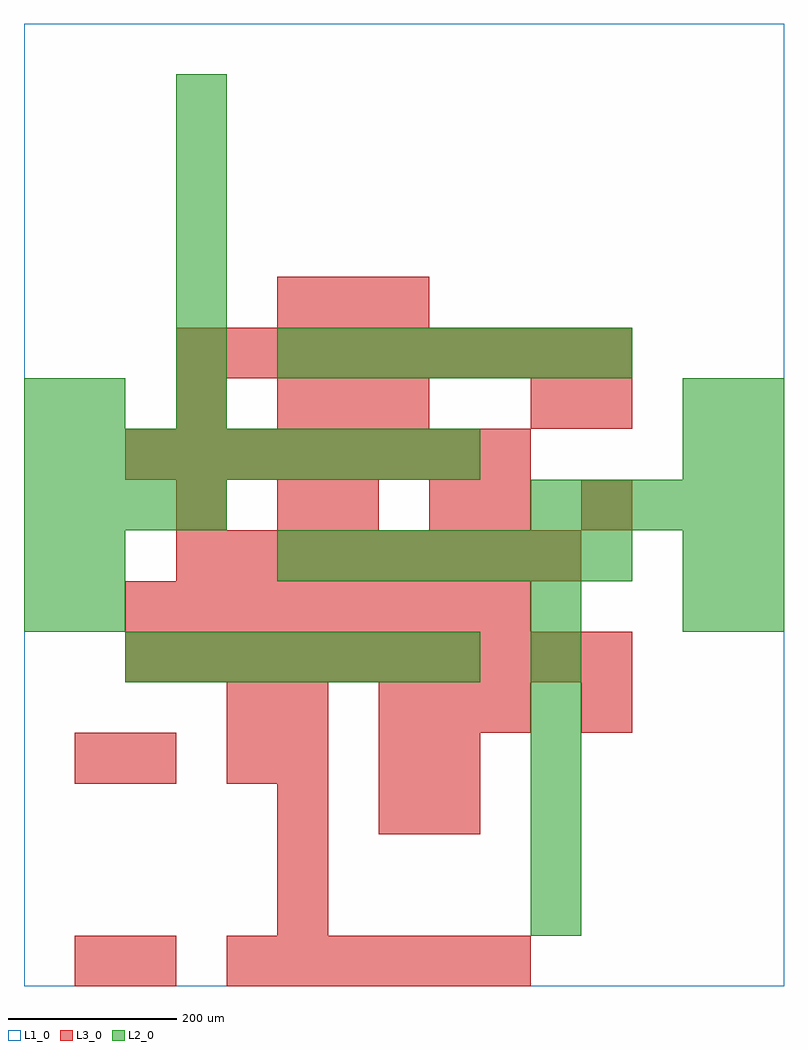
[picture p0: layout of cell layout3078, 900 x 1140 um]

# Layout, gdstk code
import gdstk
lib = gdstk.Library(unit=1e-6, precision=1e-09)
def R(c, l, rs):  # rectangles x0, y0, x1, y1
    for r in rs: c.add(gdstk.rectangle(r[:2], r[2:], *l))
def A(c, l, x, y, w, h, nx, ny, dx, dy):  # array of equal rectangles
    R(c, l, [(x+i*dx, y+j*dy, x+i*dx+w, y+j*dy+h) for i in range(nx) for j in range(ny)])
L1_0 = (1, 0)
L2_0 = (2, 0)
L3_0 = (3, 0)

layout3078 = lib.new_cell('layout3078')
R(layout3078, L1_0, [(0,0,900,1140)])
A(layout3078, L2_0, 600, 60, 60, 60, 1, 7, 0, 60)
A(layout3078, L2_0, 120, 360, 60, 60, 7, 1, 60, 0)
A(layout3078, L2_0, 300, 480, 60, 60, 7, 2, 60, 240)
A(layout3078, L2_0, 0, 540, 60, 60, 4, 1, 60, 0)
A(layout3078, L2_0, 600, 540, 60, 60, 5, 1, 60, 0)
A(layout3078, L2_0, 0, 600, 60, 60, 9, 1, 60, 0)
A(layout3078, L2_0, 180, 660, 60, 60, 1, 7, 0, 60)
R(layout3078, L2_0, [(0,420,60,480), (60,420,120,480), (780,420,840,480), (840,420,900,480), (0,480,60,540), (60,480,120,540), (780,480,840,540), (840,480,900,540), (780,600,840,660), (840,600,900,660), (0,660,60,720), (60,660,120,720), (780,660,840,720), (840,660,900,720)])
A(layout3078, L3_0, 240, 0, 60, 60, 6, 1, 60, 0)
A(layout3078, L3_0, 300, 60, 60, 60, 1, 5, 0, 60)
A(layout3078, L3_0, 420, 300, 60, 60, 3, 1, 60, 0)
A(layout3078, L3_0, 120, 360, 60, 60, 10, 1, 60, 0)
A(layout3078, L3_0, 120, 420, 60, 60, 8, 2, 60, 180)
A(layout3078, L3_0, 180, 480, 60, 60, 8, 1, 60, 0)
A(layout3078, L3_0, 300, 660, 60, 60, 3, 2, 60, 120)
A(layout3078, L3_0, 180, 720, 60, 60, 9, 1, 60, 0)
R(layout3078, L3_0, [(60,0,120,60), (120,0,180,60), (420,180,480,240), (480,180,540,240), (60,240,120,300), (120,240,180,300), (240,240,300,300), (420,240,480,300), (480,240,540,300), (240,300,300,360), (660,300,720,360), (180,540,240,600), (300,540,360,600), (360,540,420,600), (480,540,540,600), (540,540,600,600), (660,540,720,600), (180,660,240,720), (600,660,660,720), (660,660,720,720)])

lib.write_gds('layout3078.gds')
